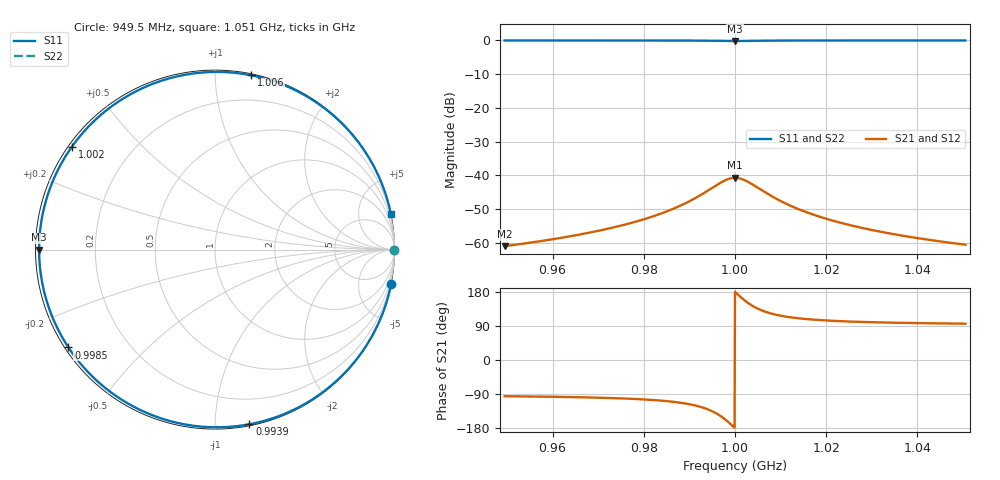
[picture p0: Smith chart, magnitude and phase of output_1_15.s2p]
! File generated for n1 = 1, n2 = 15
! b1 = 100.000000
! b2 = 0.002154
! Q0 = 10000.000000
! f0 = 1000000000.000000
! n = 1001
! rel_span = 10.000000
# Hz S RI R 50
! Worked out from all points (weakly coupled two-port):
!   1001 points, 949.5 MHz to 1.051 GHz, reference 50 ohm
!   highest |S21| = -40.73 dB at 1 GHz (marker M1); lowest = -61.0 dB at 949.5 MHz (marker M2)
!   lowest |S11| = -0.2 dB at 1 GHz (marker M3), VSWR 99.79, Z = 0.501 + j0 ohm
!   |S11| at or under -10 dB: nowhere
!   |S22| runs from 0.0 to 0.0 dB; largest |S21 - S12| = 0
!   S11 on the Smith chart (normalised r, x): 949.5 MHz: 0, -10; 993.9 MHz: 0.01, -1.22; 998.5 MHz: 0.01, -0.30; 1.002 GHz: 0.01, +0.32; 1.006 GHz: 0.01, +1.23; 1.051 GHz: 0.01, +9.86
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9.494989e8  0.9814 -0.1911  -8.64e-05 -0.000887  -8.64e-05 -0.000887  1 -4.12e-06
9.663663e8  0.9578 -0.286  -0.000196 -0.00133  -0.000196 -0.00133  1 -6.16e-06
9.759615e8  0.9182 -0.394  -0.000379 -0.00183  -0.000379 -0.00183  1 -8.49e-06
9.832336e8  0.8378 -0.543  -0.000753 -0.00252  -0.000753 -0.00252  1 -1.17e-05
9.896978e8  0.6196 -0.7801  -0.00177 -0.00362  -0.00177 -0.00362  1 -1.68e-05
9.920208e8  0.4369 -0.8933  -0.00261 -0.00415  -0.00261 -0.00415  1 -1.92e-05
9.939399e8  0.1914 -0.9733  -0.00375 -0.00452  -0.00375 -0.00452  1 -2.1e-05
9.964649e8  -0.3274 -0.9308  -0.00616 -0.00432  -0.00616 -0.00432  1 -2.01e-05
9.974749e8  -0.5833 -0.7927  -0.00735 -0.00368  -0.00735 -0.00368  1 -1.71e-05
9.98485e8  -0.8164 -0.5453  -0.00843 -0.00253  -0.00843 -0.00253  1 -1.17e-05
1e9  -0.9802 0  -0.00919 0  -0.00919 0  1 0
1.000808e9  -0.9308 0.3088  -0.00896 0.00143  -0.00896 0.00143  1 6.65e-06
1.001616e9  -0.7965 0.5744  -0.00834 0.00267  -0.00834 0.00267  1 1.24e-05
1.002525e9  -0.5849 0.7915  -0.00736 0.00367  -0.00736 0.00367  1 1.71e-05
1.003535e9  -0.3305 0.9297  -0.00618 0.00432  -0.00618 0.00432  1 2e-05
1.004646e9  -0.0747 0.9865  -0.00499 0.00458  -0.00499 0.00458  1 2.13e-05
1.006161e9  0.2013 0.9714  -0.00371 0.00451  -0.00371 0.00451  1 2.09e-05
1.00808e9  0.4406 0.8915  -0.0026 0.00414  -0.0026 0.00414  1 1.92e-05
1.010403e9  0.6192 0.7804  -0.00177 0.00362  -0.00177 0.00362  1 1.68e-05
1.016867e9  0.8346 0.5479  -0.000768 0.00254  -0.000768 0.00254  1 1.18e-05
1.033735e9  0.9552 0.2945  -0.000208 0.00137  -0.000208 0.00137  1 6.35e-06
1.050501e9  0.9794 0.2008  -9.55e-05 0.000932  -9.55e-05 0.000932  1 4.33e-06
